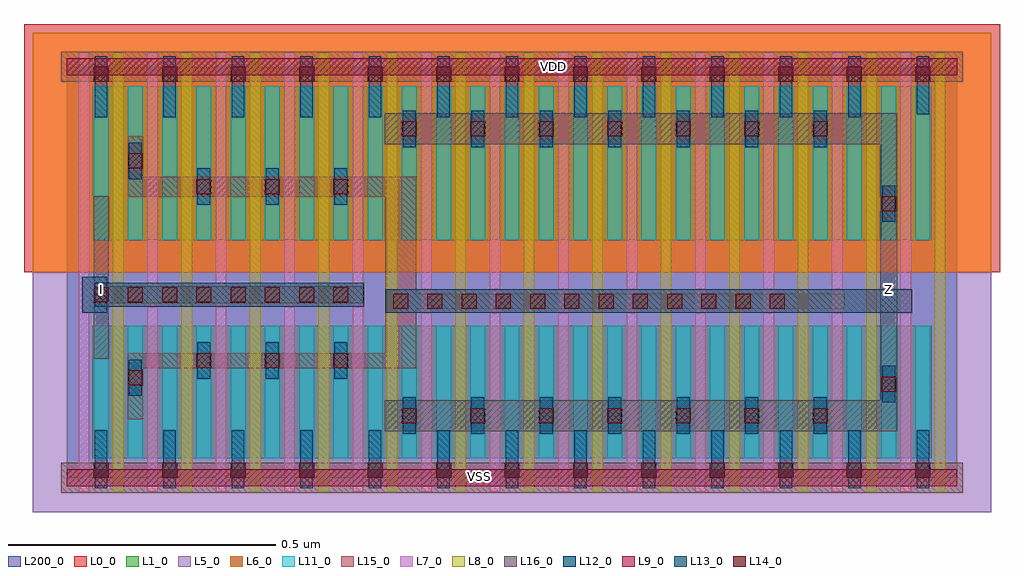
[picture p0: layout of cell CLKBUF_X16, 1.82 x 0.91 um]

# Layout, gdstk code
import gdstk
lib = gdstk.Library(unit=1e-6, precision=1e-09)
def R(c, l, rs):  # rectangles x0, y0, x1, y1
    for r in rs: c.add(gdstk.rectangle(r[:2], r[2:], *l))
def A(c, l, x, y, w, h, nx, ny, dx, dy):  # array of equal rectangles
    R(c, l, [(x+i*dx, y+j*dy, x+i*dx+w, y+j*dy+h) for i in range(nx) for j in range(ny)])
def P(c, l, *ps):  # polygons
    for p in ps: c.add(gdstk.Polygon(p, *l))
L0_0 = (0, 0)
L1_0 = (1, 0)
L5_0 = (5, 0)
L6_0 = (6, 0)
L7_0 = (7, 0)
L8_0 = (8, 0)
L9_0 = (9, 0)
L11_0 = (11, 0)
L12_0 = (12, 0)
L13_0 = (13, 0)
L14_0 = (14, 0)
L15_0 = (15, 0)
L16_0 = (16, 0)
L200_0 = (200, 0)

clkbuf_x16 = lib.new_cell('CLKBUF_X16')
R(clkbuf_x16, L0_0, [(-0.08,0.384,1.744,0.848)])
R(clkbuf_x16, L1_0, [(0.048,0.036,1.616,0.284), (0.048,0.444,1.616,0.732)])
R(clkbuf_x16, L5_0, [(-0.064,-0.064,1.728,0.384)])
R(clkbuf_x16, L6_0, [(-0.064,0.384,1.728,0.832)])
A(clkbuf_x16, L7_0, 0.022, -0.026, 0.02, 0.82, 13, 1, 0.128, 0)
A(clkbuf_x16, L8_0, 0.086, -0.026, 0.02, 0.82, 13, 1, 0.128, 0)
R(clkbuf_x16, L9_0, [(0,-0.016,1.664,0.016), (0,0.752,1.664,0.784)])
A(clkbuf_x16, L11_0, 0.05, 0.036, 0.028, 0.248, 25, 1, 0.064, 0)
A(clkbuf_x16, L11_0, 0.05, 0.444, 0.028, 0.288, 25, 1, 0.064, 0)
A(clkbuf_x16, L12_0, 0.052, -0.02, 0.024, 0.109, 13, 1, 0.128, 0)
A(clkbuf_x16, L12_0, 0.628, 0.082, 0.024, 0.068, 7, 2, 0.128, 0.536)
A(clkbuf_x16, L12_0, 0.244, 0.185, 0.024, 0.068, 3, 2, 0.128, 0.325)
A(clkbuf_x16, L12_0, 0.052, 0.674, 0.024, 0.114, 12, 1, 0.128, 0)
R(clkbuf_x16, L12_0, [(1.524,0.141,1.548,0.209), (0.116,0.153,0.14,0.221), (0.029,0.308,0.076,0.376), (1.524,0.478,1.548,0.546), (0.116,0.558,0.14,0.626), (1.588,0.679,1.612,0.788)])
R(clkbuf_x16, L13_0, [(0.596,0.308,1.58,0.352), (0.052,0.32,0.556,0.364)])
A(clkbuf_x16, L14_0, 0.05, 0, 0.028, 0.028, 13, 2, 0.128, 0.74)
A(clkbuf_x16, L14_0, 0.626, 0.102, 0.028, 0.028, 7, 2, 0.128, 0.536)
A(clkbuf_x16, L14_0, 0.242, 0.205, 0.028, 0.028, 3, 2, 0.128, 0.325)
A(clkbuf_x16, L14_0, 0.61, 0.316, 0.028, 0.028, 12, 1, 0.064, 0)
A(clkbuf_x16, L14_0, 0.05, 0.328, 0.028, 0.028, 8, 1, 0.064, 0)
R(clkbuf_x16, L14_0, [(1.522,0.161,1.55,0.189), (0.114,0.173,0.142,0.201), (1.522,0.498,1.55,0.526), (0.114,0.578,0.142,0.606)])
R(clkbuf_x16, L15_0, [(-0.01,-0.028,1.674,0.028), (-0.01,0.74,1.674,0.796)])
P(clkbuf_x16, L15_0, [(0.114,0.525),(0.595,0.525),(0.595,0.233),(0.114,0.233),(0.114,0.109),(0.142,0.109),(0.142,0.205),(0.653,0.205),(0.653,0.316),(1.454,0.316),(1.454,0.344),(0.653,0.344),(0.653,0.563),(0.142,0.563),(0.142,0.638),(0.114,0.638)])
P(clkbuf_x16, L16_0, [(0.05,0.222),(0.078,0.222),(0.078,0.326),(0.554,0.326),(0.554,0.358),(0.078,0.358),(0.078,0.526),(0.05,0.526)],
  [(0.594,0.623),(1.52,0.623),(1.52,0.145),(0.594,0.145),(0.594,0.087),(1.552,0.087),(1.552,0.681),(0.594,0.681)])
R(clkbuf_x16, L200_0, [(0,0,1.664,0.768)])
clkbuf_x16.add(gdstk.Label('VSS', (0.771,0.002), layer=15, texttype=20))
clkbuf_x16.add(gdstk.Label('VDD', (0.91,0.769), layer=15, texttype=20))
clkbuf_x16.add(gdstk.Label('I', (0.064,0.352), layer=16, texttype=20))
clkbuf_x16.add(gdstk.Label('Z', (1.536,0.352), layer=16, texttype=20))

lib.write_gds('CLKBUF_X16.gds')
